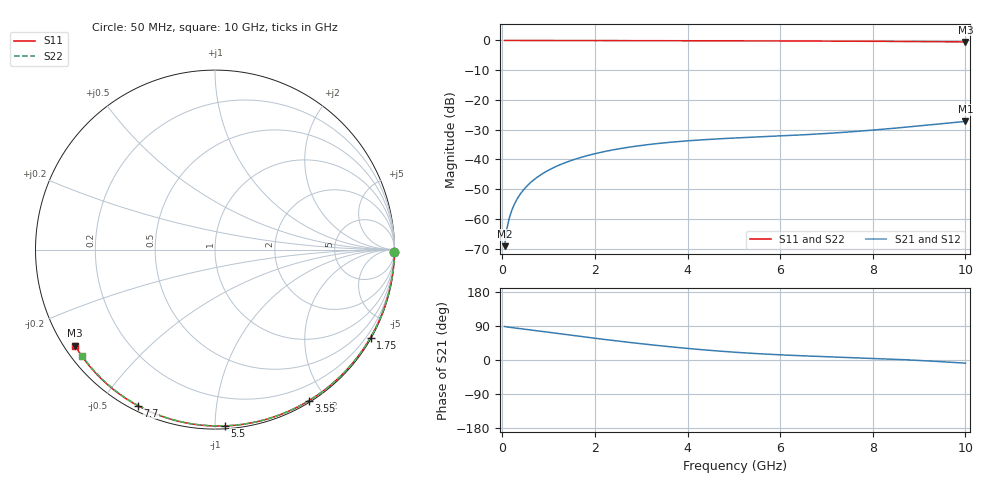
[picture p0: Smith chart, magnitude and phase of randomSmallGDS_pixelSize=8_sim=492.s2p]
! freq	dB(S11)	phase(S11)	dB(S12)	phase(S12)
!  dB(S21)	phase(S21)	dB(S22)	phase(S22)
!S-par simulation data
#  GHz  S  DB  R 50
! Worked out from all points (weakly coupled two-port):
!   200 points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, 50 MHz to 10 GHz, reference 50 ohm
!   highest |S21| = -27.21 dB at 10 GHz (marker M1); lowest = -69.1 dB at 50 MHz (marker M2)
!   lowest |S11| = -0.5 dB at 10 GHz (marker M3), VSWR 35.96, Z = 1.52 - j15.5 ohm
!   |S11| at or under -10 dB: nowhere
!   |S22| runs from -0.5 to 0.0 dB; largest |S21 - S12| = 0
!   S11 on the Smith chart (normalised r, x): 50 MHz: open; 1.75 GHz: 0.03, -3.80; 3.55 GHz: 0.02, -1.80; 5.5 GHz: 0.02, -1.06; 7.7 GHz: 0.02, -0.62; 10 GHz: 0.03, -0.31
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0.05  -0.00 -0.9  -69.14 88.4  -69.14 88.4  -0.00 -0.8
0.1  -0.00 -1.7  -63.21 87.2  -63.21 87.2  -0.00 -1.7
0.15  -0.00 -2.6  -59.76 86.3  -59.76 86.3  -0.00 -2.5
0.2  -0.00 -3.4  -57.31 85.6  -57.31 85.6  -0.00 -3.3
0.25  -0.00 -4.3  -55.41 84.8  -55.41 84.8  -0.00 -4.2
0.35  -0.00 -6.0  -52.53 83.4  -52.53 83.4  -0.00 -5.8
0.5  -0.01 -8.6  -49.47 81.1  -49.47 81.1  -0.01 -8.3
0.7  -0.01 -11.9  -46.60 77.9  -46.60 77.9  -0.01 -11.6
1  -0.02 -17.0  -43.59 73.1  -43.59 73.1  -0.02 -16.5
1.35  -0.03 -22.9  -41.12 67.5  -41.12 67.5  -0.03 -22.2
1.75  -0.04 -29.5  -39.07 61.2  -39.07 61.2  -0.04 -28.6
2.5  -0.05 -41.7  -36.47 49.9  -36.47 49.9  -0.05 -40.5
3.4  -0.08 -55.9  -34.57 37.7  -34.57 37.7  -0.07 -54.3
3.55  -0.08 -58.2  -34.33 35.8  -34.33 35.8  -0.08 -56.5
4.3  -0.10 -69.6  -33.41 27.3  -33.41 27.3  -0.10 -67.5
5.05  -0.12 -80.5  -32.76 20.3  -32.76 20.3  -0.12 -78.2
5.5  -0.14 -86.9  -32.44 16.8  -32.44 16.8  -0.14 -84.4
6.7  -0.20 -103.3  -31.54 10.1  -31.54 10.1  -0.19 -100.4
7.7  -0.26 -116.4  -30.50 5.8  -30.50 5.8  -0.26 -113.1
8.35  -0.32 -124.7  -29.66 2.6  -29.66 2.6  -0.31 -121.1
9.2  -0.40 -135.4  -28.42 -2.5  -28.42 -2.5  -0.38 -131.5
10  -0.48 -145.5  -27.21 -8.3  -27.21 -8.3  -0.47 -141.2
